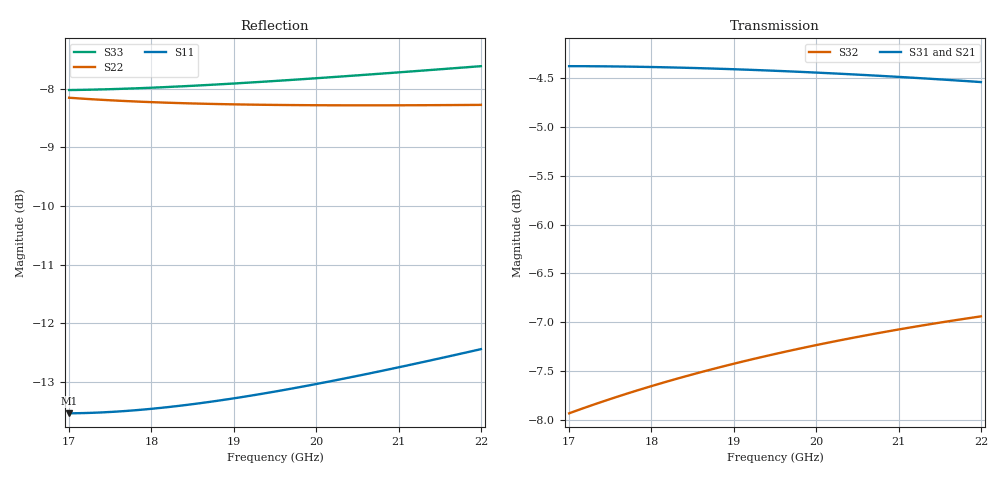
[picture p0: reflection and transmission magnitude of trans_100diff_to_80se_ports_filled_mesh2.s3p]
#  GHZ S DB R 50.0
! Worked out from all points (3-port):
!   51 points, 17 GHz to 22 GHz, reference 50 ohm
!   strongest paths, dB at 17 GHz, 18.2 GHz, 19.5 GHz, 20.8 GHz, 22 GHz:
!     S31: -4.4, -4.4, -4.4, -4.5, -4.5
!     S21: -4.6, -4.5, -4.5, -4.5, -4.5
!     S32: -7.9, -7.6, -7.3, -7.1, -6.9
!   lowest |S11| = -13.5 dB at 17 GHz (marker M1), VSWR 1.53, Z = 75.1 + j8.15 ohm
!   |S11| at or under -10 dB: start of sweep to end of sweep
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17  -13.53 14.3  -4.55 -173.6  -4.38 6.1
    -4.55 -173.6  -8.15 95.1  -7.93 73.0
    -4.38 6.1  -7.93 73.0  -8.02 92.0
17.3  -13.52 10.4  -4.54 -175.8  -4.38 4.0
      -4.54 -175.8  -8.18 92.1  -7.84 71.0
      -4.38 4.0  -7.84 71.0  -8.02 89.2
17.6  -13.50 6.6  -4.53 -177.9  -4.38 2.0
      -4.53 -177.9  -8.21 89.3  -7.76 69.0
      -4.38 2.0  -7.76 69.0  -8.00 86.4
18.2  -13.43 -0.5  -4.51 177.9  -4.39 -1.9
      -4.51 177.9  -8.24 84.0  -7.60 65.2
      -4.39 -1.9  -7.60 65.2  -7.97 81.3
18.8  -13.32 -7.1  -4.50 173.9  -4.41 -5.7
      -4.50 173.9  -8.26 79.1  -7.47 61.6
      -4.41 -5.7  -7.47 61.6  -7.93 76.5
19.5  -13.16 -14.3  -4.49 169.4  -4.43 -10.0
      -4.49 169.4  -8.28 73.8  -7.32 57.6
      -4.43 -10.0  -7.32 57.6  -7.87 71.4
20.1  -13.01 -20.0  -4.48 165.7  -4.45 -13.5
      -4.48 165.7  -8.28 69.6  -7.22 54.3
      -4.45 -13.5  -7.22 54.3  -7.81 67.3
20.7  -12.84 -25.4  -4.48 162.1  -4.48 -16.9
      -4.48 162.1  -8.28 65.8  -7.12 51.1
      -4.48 -16.9  -7.12 51.1  -7.75 63.6
21.3  -12.66 -30.5  -4.49 158.5  -4.51 -20.3
      -4.49 158.5  -8.28 62.1  -7.03 48.0
      -4.51 -20.3  -7.03 48.0  -7.69 60.0
22  -12.44 -36.1  -4.49 154.5  -4.54 -24.1
    -4.49 154.5  -8.28 58.2  -6.94 44.6
    -4.54 -24.1  -6.94 44.6  -7.62 56.2
